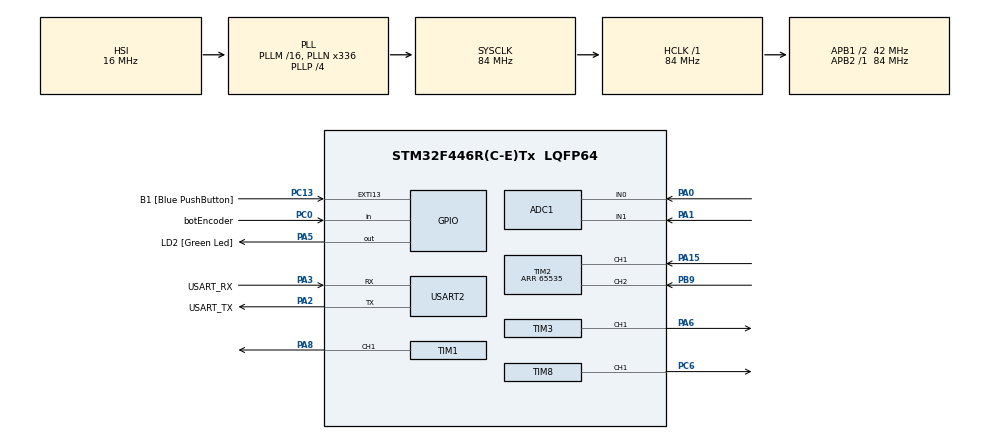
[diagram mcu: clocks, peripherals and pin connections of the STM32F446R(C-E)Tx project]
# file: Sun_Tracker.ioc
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ADC1.Channel-3\#ChannelRegularConversion=ADC_CHANNEL_0
ADC1.Channel-4\#ChannelRegularConversion=ADC_CHANNEL_1
ADC1.DMAContinuousRequests=ENABLE
ADC1.EOCSelection=ADC_EOC_SEQ_CONV
ADC1.ExternalTrigConv=ADC_EXTERNALTRIGCONV_T8_TRGO
ADC1.NbrOfConversion=2
ADC1.NbrOfConversionFlag=1
ADC1.Rank-3\#ChannelRegularConversion=1
ADC1.Rank-4\#ChannelRegularConversion=2
ADC1.SamplingTime-3\#ChannelRegularConversion=ADC_SAMPLETIME_3CYCLES
ADC1.SamplingTime-4\#ChannelRegularConversion=ADC_SAMPLETIME_3CYCLES
ADC1.master=1
Dma.ADC1.0.Direction=DMA_PERIPH_TO_MEMORY
Dma.ADC1.0.FIFOMode=DMA_FIFOMODE_DISABLE
Dma.ADC1.0.Instance=DMA2_Stream0
Dma.ADC1.0.MemDataAlignment=DMA_MDATAALIGN_HALFWORD
Dma.ADC1.0.MemInc=DMA_MINC_ENABLE
Dma.ADC1.0.Mode=DMA_CIRCULAR
Dma.ADC1.0.PeriphDataAlignment=DMA_PDATAALIGN_HALFWORD
Dma.ADC1.0.PeriphInc=DMA_PINC_DISABLE
Dma.ADC1.0.Priority=DMA_PRIORITY_LOW
Dma.Request0=ADC1
Mcu.Family=STM32F4
Mcu.Name=STM32F446R(C-E)Tx
Mcu.Package=LQFP64
NVIC.DMA2_Stream0_IRQn=true\:0\:0\:false\:false\:true\:false\:true\:true
NVIC.PriorityGroup=NVIC_PRIORITYGROUP_0
NVIC.TIM3_IRQn=true\:0\:0\:false\:false\:true\:true\:true\:true
PA0-WKUP.Signal=ADCx_IN0
PA1.Signal=ADCx_IN1
PA13.GPIO_Label=TMS
PA13.Mode=Serial_Wire
PA13.Signal=SYS_JTMS-SWDIO
PA14.GPIO_Label=TCK
PA14.Mode=Serial_Wire
PA14.Signal=SYS_JTCK-SWCLK
PA15.Signal=S_TIM2_CH1_ETR
PA2.GPIO_Label=USART_TX
PA2.Mode=Asynchronous
PA2.Signal=USART2_TX
PA3.GPIO_Label=USART_RX
PA3.Mode=Asynchronous
PA3.Signal=USART2_RX
PA5.GPIO_Label=LD2 [Green Led]
PA5.Signal=GPIO_Output
PA6.Signal=S_TIM3_CH1
PA8.Signal=S_TIM1_CH1
PB3.GPIO_Label=SWO
PB3.Signal=SYS_JTDO-SWO
PB9.Signal=S_TIM2_CH2
PC0.GPIO_Label=botEncoder
PC0.GPIO_PuPd=GPIO_NOPULL
PC0.Signal=GPIO_Input
PC13.GPIO_Label=B1 [Blue PushButton]
PC13.GPIO_ModeDefaultEXTI=GPIO_MODE_IT_FALLING
PC13.Signal=GPXTI13
PC14-OSC32_IN.Mode=LSE-External-Oscillator
PC14-OSC32_IN.Signal=RCC_OSC32_IN
PC15-OSC32_OUT.Mode=LSE-External-Oscillator
PC15-OSC32_OUT.Signal=RCC_OSC32_OUT
PC6.Signal=S_TIM8_CH1
PH0-OSC_IN.Mode=HSE-External-Oscillator
PH0-OSC_IN.Signal=RCC_OSC_IN
PH1-OSC_OUT.Mode=HSE-External-Oscillator
PH1-OSC_OUT.Signal=RCC_OSC_OUT
ProjectManager.HeapSize=0x200
ProjectManager.StackSize=0x400
ProjectManager.TargetToolchain=STM32CubeIDE
RCC.48MHZClocksFreq_Value=84000000
RCC.AHBFreq_Value=84000000
RCC.APB1CLKDivider=RCC_HCLK_DIV2
RCC.APB1Freq_Value=42000000
RCC.APB1TimFreq_Value=84000000
RCC.APB2Freq_Value=84000000
RCC.APB2TimFreq_Value=84000000
RCC.CortexFreq_Value=84000000
RCC.FLatency-AdvancedSettings=FLASH_LATENCY_2
RCC.HCLKFreq_Value=84000000
RCC.HSE_VALUE=8000000
RCC.HSI_VALUE=16000000
RCC.PLLN=336
RCC.PLLP=RCC_PLLP_DIV4
RCC.SYSCLKFreq_VALUE=84000000
RCC.SYSCLKSource=RCC_SYSCLKSOURCE_PLLCLK
RCC.USBFreq_Value=168000000
RCC.VCOOutputFreq_Value=336000000
SH.ADCx_IN0.0=ADC1_IN0,IN0
SH.ADCx_IN1.0=ADC1_IN1,IN1
SH.S_TIM1_CH1.0=TIM1_CH1,PWM Generation1 CH1
SH.S_TIM2_CH1_ETR.0=TIM2_CH1,Encoder_Interface
SH.S_TIM2_CH2.0=TIM2_CH2,Encoder_Interface
SH.S_TIM3_CH1.0=TIM3_CH1,Output Compare1 CH1
SH.S_TIM8_CH1.0=TIM8_CH1,PWM Generation1 CH1
TIM1.AutoReloadPreload=TIM_AUTORELOAD_PRELOAD_ENABLE
TIM1.Channel-PWM\ Generation1\ CH1=TIM_CHANNEL_1
TIM1.Period=(4000-1)
TIM1.Prescaler=(420-1)
TIM1.Pulse-PWM\ Generation1\ CH1=2000
TIM2.EncoderMode=TIM_ENCODERMODE_TI12
TIM2.Period=65535
TIM3.Channel-Output\ Compare1\ CH1=TIM_CHANNEL_1
TIM3.Prescaler=8399
TIM8.AutoReloadPreload=TIM_AUTORELOAD_PRELOAD_ENABLE
TIM8.Channel-PWM\ Generation1\ CH1=TIM_CHANNEL_1
TIM8.Period=3499
TIM8.Prescaler=999
TIM8.Pulse-PWM\ Generation1\ CH1=2000
TIM8.TIM_MasterOutputTrigger=TIM_TRGO_UPDATE
USART2.VirtualMode=VM_ASYNC
VP_TIM1_VS_ClockSourceINT.Mode=Internal
VP_TIM8_VS_ClockSourceINT.Mode=Internal
board=NUCLEO-F446RE

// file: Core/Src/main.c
/* USER CODE BEGIN Header */
/**
  ******************************************************************************
  * @file           : main.c
  * @brief          : Main program body
  ******************************************************************************
  * @attention
  *
  * Copyright (c) 2025 STMicroelectronics.
  * All rights reserved.
  *
  * This software is licensed under terms that can be found in the LICENSE file
  * in the root directory of this software component.
  * If no LICENSE file comes with this software, it is provided AS-IS.
  *
  ******************************************************************************
  */
/* USER CODE END Header */
#include "main.h"
#include "adc.h"
#include "dma.h"
#include "tim.h"
#include "usart.h"
#include "gpio.h"

/* USER CODE BEGIN Includes */
#include "math.h"
#include "string.h"
#include "stdlib.h"
/* USER CODE END Includes */

/* USER CODE BEGIN PV */
uint16_t valoresADCs[2] = {0,0};
uint32_t valorADC1 = 0, valorADC2 = 0;
uint32_t proximoEvento = 0;
int32_t posEncoder = 0, ultimaPosEncoder= 0;
int posServo = 100;
int contManual = 0, press = 0;
float razADC = 0, v1, v2;
/* USER CODE END PV */

void SystemClock_Config(void);

int main(void)
{

  /* MCU Configuration--------------------------------------------------------*/

  /* Reset of all peripherals, Initializes the Flash interface and the Systick. */
  HAL_Init();

  /* Configure the system clock */
  SystemClock_Config();

  /* Initialize all configured peripherals */
  MX_GPIO_Init();
  MX_DMA_Init();
  MX_USART2_UART_Init();
  MX_ADC1_Init();
  MX_TIM1_Init();
  MX_TIM3_Init();
  MX_TIM2_Init();
  MX_TIM8_Init();
  /* USER CODE BEGIN 2 */
  //HAL_ADC_Start(&hadc1);
  HAL_ADC_Start_DMA(&hadc1, valoresADCs, 2);
  HAL_TIM_PWM_Start(&htim1, TIM_CHANNEL_1);
  HAL_TIM_Encoder_Start(&htim2, TIM_CHANNEL_ALL);
  HAL_TIM_OC_Start_IT(&htim3, TIM_CHANNEL_1);
  //HAL_TIM_Base_Start(&htim8);
  proximoEvento = __HAL_TIM_GET_COUNTER(&htim3) + 1000;
  __HAL_TIM_SET_COMPARE(&htim3, TIM_CHANNEL_1, proximoEvento);

  HAL_TIM_PWM_Start(&htim8, TIM_CHANNEL_1);

  /* USER CODE END 2 */

  /* Infinite loop */
  /* USER CODE BEGIN WHILE */
  while (1)
  {
	  if(HAL_GPIO_ReadPin(botEncoder_GPIO_Port, botEncoder_Pin) == 0)
	  {
		  if (press == 0) contManual = !contManual;
		  press = 1;
	  }
	  else press = 0;

	  // habilita a movimentação manual da placa
	  if(contManual == 1)
	  {
		  posEncoder = __HAL_TIM_GET_COUNTER(&htim2);
		  if (posEncoder != ultimaPosEncoder)
		  {
			  if ((int32_t)(posEncoder- ultimaPosEncoder) > 0 && posServo <= 480)
			  {
				  // Movimento horário
				  posServo += 20;
			  }
			  else if ((int32_t)(posEncoder - ultimaPosEncoder) < 0 && posServo >= 120)
			  {
				  // Movimento anti-horário
				  posServo -= 20;
			  }
			  ultimaPosEncoder = posEncoder;
		  }
		  __HAL_TIM_SET_COMPARE(&htim1, TIM_CHANNEL_1, posServo);
	  }
	  HAL_Delay(50);
    /* USER CODE END WHILE */

  }
}

void SystemClock_Config(void)
{
  RCC_OscInitTypeDef RCC_OscInitStruct = {0};
  RCC_ClkInitTypeDef RCC_ClkInitStruct = {0};

  /** Configure the main internal regulator output voltage
  */
  __HAL_RCC_PWR_CLK_ENABLE();
  __HAL_PWR_VOLTAGESCALING_CONFIG(PWR_REGULATOR_VOLTAGE_SCALE3);

  /** Initializes the RCC Oscillators according to the specified parameters
  * in the RCC_OscInitTypeDef structure.
  */
  RCC_OscInitStruct.OscillatorType = RCC_OSCILLATORTYPE_HSI;
  RCC_OscInitStruct.HSIState = RCC_HSI_ON;
  RCC_OscInitStruct.HSICalibrationValue = RCC_HSICALIBRATION_DEFAULT;
  RCC_OscInitStruct.PLL.PLLState = RCC_PLL_ON;
  RCC_OscInitStruct.PLL.PLLSource = RCC_PLLSOURCE_HSI;
  RCC_OscInitStruct.PLL.PLLM = 16;
  RCC_OscInitStruct.PLL.PLLN = 336;
  RCC_OscInitStruct.PLL.PLLP = RCC_PLLP_DIV4;
  RCC_OscInitStruct.PLL.PLLQ = 2;
  RCC_OscInitStruct.PLL.PLLR = 2;
  if (HAL_RCC_OscConfig(&RCC_OscInitStruct) != HAL_OK)
  {
    Error_Handler();
  }

  /** Initializes the CPU, AHB and APB buses clocks
  */
  RCC_ClkInitStruct.ClockType = RCC_CLOCKTYPE_HCLK|RCC_CLOCKTYPE_SYSCLK
                              |RCC_CLOCKTYPE_PCLK1|RCC_CLOCKTYPE_PCLK2;
  RCC_ClkInitStruct.SYSCLKSource = RCC_SYSCLKSOURCE_PLLCLK;
  RCC_ClkInitStruct.AHBCLKDivider = RCC_SYSCLK_DIV1;
  RCC_ClkInitStruct.APB1CLKDivider = RCC_HCLK_DIV2;
  RCC_ClkInitStruct.APB2CLKDivider = RCC_HCLK_DIV1;

  if (HAL_RCC_ClockConfig(&RCC_ClkInitStruct, FLASH_LATENCY_2) != HAL_OK)
  {
    Error_Handler();
  }
}

/* USER CODE BEGIN 4 */
void HAL_TIM_OC_DelayElapsedCallback(TIM_HandleTypeDef *htim)
{
	if (htim->Instance == TIM3 && htim->Channel == HAL_TIM_ACTIVE_CHANNEL_1)
	{
		// lê posição atual do servo (duty cycle)
		float pos = __HAL_TIM_GET_COMPARE(&htim1, TIM_CHANNEL_1);

		// envia o relatório a cada 0.1 segundo
		char buffer[32];
		int angulo = map(pos, 500, 120, 0, 180);
		sprintf(buffer, "{\"angulo\": %i}\n\r", angulo);
		HAL_UART_Transmit(&huart2, (uint8_t*)buffer, strlen(buffer), HAL_MAX_DELAY);

		// agenda próxima captura (0.1 segundo depois)
		proximoEvento += 1000;
		__HAL_TIM_SET_COMPARE(&htim3, TIM_CHANNEL_1, proximoEvento);
	}
}

int map(int x, int in_min, int in_max, int out_min, int out_max)
{
	return ((x - in_min) * (out_max - out_min) / (in_max - in_min) + out_min);
}

void HAL_ADC_ConvCpltCallback(ADC_HandleTypeDef *hadc)
{
	if(contManual == 0)
	{
	  valorADC1 = valoresADCs[0];
	  valorADC2 = valoresADCs[1];

	  // calcula a razão entre os LDRs
	  valorADC1 = 4095 - valorADC1;
	  valorADC2 = 4095 - valorADC2;
	  v1 = (float)valorADC1;
	  v2 = (float)valorADC2;
	  razADC = (sqrt(v1) / (sqrt(v1) + sqrt(v2)));

	  // normalização dos valores
	  razADC = (razADC - 0.425) / (0.625 - 0.425);
	  if(razADC < 0) razADC = 0;
	  if(razADC > 1) razADC = 1;

	  // alterando a posição do servo, vai de 120 a 500 (0° a 180°)
	  razADC = 120 + (razADC * 380);
	  posServo = razADC;
	  __HAL_TIM_SET_COMPARE(&htim1, TIM_CHANNEL_1, razADC);
	}
}
/* USER CODE END 4 */

void Error_Handler(void)
{
  __disable_irq();
  while (1)
  {
  }
}
